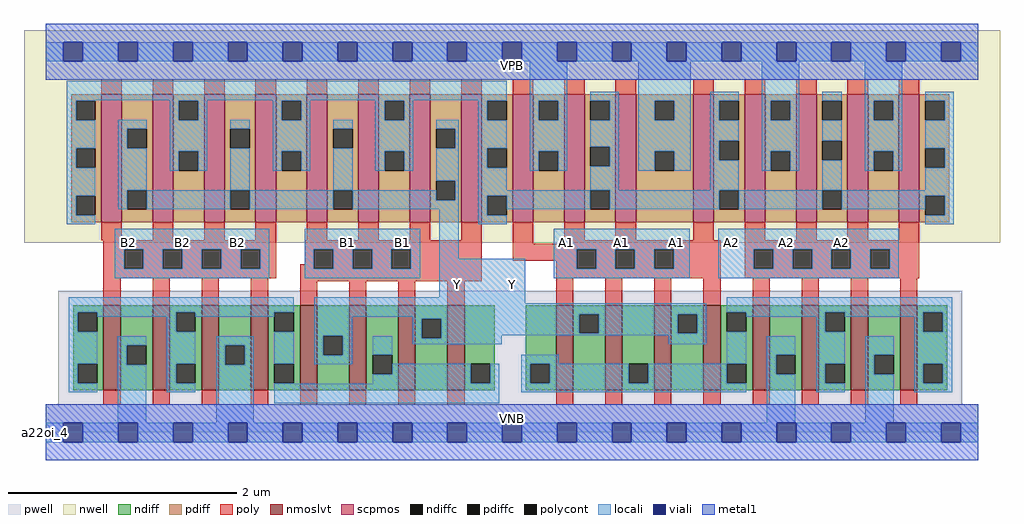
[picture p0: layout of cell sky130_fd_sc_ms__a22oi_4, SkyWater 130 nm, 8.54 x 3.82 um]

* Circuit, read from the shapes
.subckt sky130_fd_sc_ms__a22oi_4 A1 A2 B1 B2 VGND VNB VPB VPWR Y
XM1 VGND B2 n1 VNB sky130_fd_pr__nfet_01v8_lvt w=0.74 l=0.15 m=4
XM2 Y B1 n1 VNB sky130_fd_pr__nfet_01v8_lvt w=0.74 l=0.15 m=4
XM3 Y A1 n2 VNB sky130_fd_pr__nfet_01v8_lvt w=0.74 l=0.15 m=4
XM4 VGND A2 n2 VNB sky130_fd_pr__nfet_01v8_lvt w=0.74 l=0.15 m=4
XM5 Y B2 n3 VPB sky130_fd_pr__pfet_01v8 w=1.12 l=0.18 m=4
XM6 Y B1 n3 VPB sky130_fd_pr__pfet_01v8 w=1.12 l=0.18 m=4
XM7 VPWR A1 n3 VPB sky130_fd_pr__pfet_01v8 w=1.12 l=0.18 m=4
XM8 VPWR A2 n3 VPB sky130_fd_pr__pfet_01v8 w=1.12 l=0.18 m=4
.ends

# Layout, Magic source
magic
tech sky130A
magscale 1 2
<< nwell >>
rect -38 332 1670 704
<< pwell >>
rect 22 49 1604 248
rect 0 0 1632 49
<< scpmos >>
rect 97 368 133 592
rect 187 368 223 592
rect 277 368 313 592
rect 367 368 403 592
rect 457 368 493 592
rect 547 368 583 592
rect 637 368 673 592
rect 727 368 763 592
rect 817 368 853 592
rect 907 368 943 592
rect 997 368 1033 592
rect 1133 368 1169 592
rect 1223 368 1259 592
rect 1313 368 1349 592
rect 1403 368 1439 592
rect 1493 368 1529 592
<< nmoslvt >>
rect 101 74 131 222
rect 187 74 217 222
rect 273 74 303 222
rect 359 74 389 222
rect 445 74 475 222
rect 531 74 561 222
rect 617 74 647 222
rect 703 74 733 222
rect 893 74 923 222
rect 979 74 1009 222
rect 1065 74 1095 222
rect 1151 74 1181 222
rect 1237 74 1267 222
rect 1323 74 1353 222
rect 1409 74 1439 222
rect 1495 74 1525 222
<< ndiff >>
rect 48 210 101 222
rect 48 176 56 210
rect 90 176 101 210
rect 48 120 101 176
rect 48 86 56 120
rect 90 86 101 120
rect 48 74 101 86
rect 131 152 187 222
rect 131 118 142 152
rect 176 118 187 152
rect 131 74 187 118
rect 217 210 273 222
rect 217 176 228 210
rect 262 176 273 210
rect 217 120 273 176
rect 217 86 228 120
rect 262 86 273 120
rect 217 74 273 86
rect 303 152 359 222
rect 303 118 314 152
rect 348 118 359 152
rect 303 74 359 118
rect 389 210 445 222
rect 389 176 400 210
rect 434 176 445 210
rect 389 120 445 176
rect 389 86 400 120
rect 434 86 445 120
rect 389 74 445 86
rect 475 169 531 222
rect 475 135 486 169
rect 520 135 531 169
rect 475 74 531 135
rect 561 136 617 222
rect 561 102 572 136
rect 606 102 617 136
rect 561 74 617 102
rect 647 199 703 222
rect 647 165 658 199
rect 692 165 703 199
rect 647 74 703 165
rect 733 120 786 222
rect 733 86 744 120
rect 778 86 786 120
rect 733 74 786 86
rect 840 120 893 222
rect 840 86 848 120
rect 882 86 893 120
rect 840 74 893 86
rect 923 207 979 222
rect 923 173 934 207
rect 968 173 979 207
rect 923 74 979 173
rect 1009 120 1065 222
rect 1009 86 1020 120
rect 1054 86 1065 120
rect 1009 74 1065 86
rect 1095 207 1151 222
rect 1095 173 1106 207
rect 1140 173 1151 207
rect 1095 74 1151 173
rect 1181 210 1237 222
rect 1181 176 1192 210
rect 1226 176 1237 210
rect 1181 120 1237 176
rect 1181 86 1192 120
rect 1226 86 1237 120
rect 1181 74 1237 86
rect 1267 136 1323 222
rect 1267 102 1278 136
rect 1312 102 1323 136
rect 1267 74 1323 102
rect 1353 210 1409 222
rect 1353 176 1364 210
rect 1398 176 1409 210
rect 1353 120 1409 176
rect 1353 86 1364 120
rect 1398 86 1409 120
rect 1353 74 1409 86
rect 1439 136 1495 222
rect 1439 102 1450 136
rect 1484 102 1495 136
rect 1439 74 1495 102
rect 1525 210 1578 222
rect 1525 176 1536 210
rect 1570 176 1578 210
rect 1525 120 1578 176
rect 1525 86 1536 120
rect 1570 86 1578 120
rect 1525 74 1578 86
<< pdiff >>
rect 45 580 97 592
rect 45 546 53 580
rect 87 546 97 580
rect 45 497 97 546
rect 45 463 53 497
rect 87 463 97 497
rect 45 414 97 463
rect 45 380 53 414
rect 87 380 97 414
rect 45 368 97 380
rect 133 531 187 592
rect 133 497 143 531
rect 177 497 187 531
rect 133 424 187 497
rect 133 390 143 424
rect 177 390 187 424
rect 133 368 187 390
rect 223 580 277 592
rect 223 546 233 580
rect 267 546 277 580
rect 223 492 277 546
rect 223 458 233 492
rect 267 458 277 492
rect 223 368 277 458
rect 313 531 367 592
rect 313 497 323 531
rect 357 497 367 531
rect 313 424 367 497
rect 313 390 323 424
rect 357 390 367 424
rect 313 368 367 390
rect 403 580 457 592
rect 403 546 413 580
rect 447 546 457 580
rect 403 492 457 546
rect 403 458 413 492
rect 447 458 457 492
rect 403 368 457 458
rect 493 531 547 592
rect 493 497 503 531
rect 537 497 547 531
rect 493 424 547 497
rect 493 390 503 424
rect 537 390 547 424
rect 493 368 547 390
rect 583 580 637 592
rect 583 546 593 580
rect 627 546 637 580
rect 583 492 637 546
rect 583 458 593 492
rect 627 458 637 492
rect 583 368 637 458
rect 673 531 727 592
rect 673 497 683 531
rect 717 497 727 531
rect 673 440 727 497
rect 673 406 683 440
rect 717 406 727 440
rect 673 368 727 406
rect 763 580 817 592
rect 763 546 773 580
rect 807 546 817 580
rect 763 497 817 546
rect 763 463 773 497
rect 807 463 817 497
rect 763 414 817 463
rect 763 380 773 414
rect 807 380 817 414
rect 763 368 817 380
rect 853 580 907 592
rect 853 546 863 580
rect 897 546 907 580
rect 853 492 907 546
rect 853 458 863 492
rect 897 458 907 492
rect 853 368 907 458
rect 943 580 997 592
rect 943 546 953 580
rect 987 546 997 580
rect 943 500 997 546
rect 943 466 953 500
rect 987 466 997 500
rect 943 424 997 466
rect 943 390 953 424
rect 987 390 997 424
rect 943 368 997 390
rect 1033 580 1133 592
rect 1033 546 1066 580
rect 1100 546 1133 580
rect 1033 492 1133 546
rect 1033 458 1066 492
rect 1100 458 1133 492
rect 1033 368 1133 458
rect 1169 580 1223 592
rect 1169 546 1179 580
rect 1213 546 1223 580
rect 1169 510 1223 546
rect 1169 476 1179 510
rect 1213 476 1223 510
rect 1169 424 1223 476
rect 1169 390 1179 424
rect 1213 390 1223 424
rect 1169 368 1223 390
rect 1259 580 1313 592
rect 1259 546 1269 580
rect 1303 546 1313 580
rect 1259 492 1313 546
rect 1259 458 1269 492
rect 1303 458 1313 492
rect 1259 368 1313 458
rect 1349 580 1403 592
rect 1349 546 1359 580
rect 1393 546 1403 580
rect 1349 510 1403 546
rect 1349 476 1359 510
rect 1393 476 1403 510
rect 1349 424 1403 476
rect 1349 390 1359 424
rect 1393 390 1403 424
rect 1349 368 1403 390
rect 1439 580 1493 592
rect 1439 546 1449 580
rect 1483 546 1493 580
rect 1439 492 1493 546
rect 1439 458 1449 492
rect 1483 458 1493 492
rect 1439 368 1493 458
rect 1529 580 1581 592
rect 1529 546 1539 580
rect 1573 546 1581 580
rect 1529 497 1581 546
rect 1529 463 1539 497
rect 1573 463 1581 497
rect 1529 414 1581 463
rect 1529 380 1539 414
rect 1573 380 1581 414
rect 1529 368 1581 380
<< ndiffc >>
rect 56 176 90 210
rect 56 86 90 120
rect 142 118 176 152
rect 228 176 262 210
rect 228 86 262 120
rect 314 118 348 152
rect 400 176 434 210
rect 400 86 434 120
rect 486 135 520 169
rect 572 102 606 136
rect 658 165 692 199
rect 744 86 778 120
rect 848 86 882 120
rect 934 173 968 207
rect 1020 86 1054 120
rect 1106 173 1140 207
rect 1192 176 1226 210
rect 1192 86 1226 120
rect 1278 102 1312 136
rect 1364 176 1398 210
rect 1364 86 1398 120
rect 1450 102 1484 136
rect 1536 176 1570 210
rect 1536 86 1570 120
<< pdiffc >>
rect 53 546 87 580
rect 53 463 87 497
rect 53 380 87 414
rect 143 497 177 531
rect 143 390 177 424
rect 233 546 267 580
rect 233 458 267 492
rect 323 497 357 531
rect 323 390 357 424
rect 413 546 447 580
rect 413 458 447 492
rect 503 497 537 531
rect 503 390 537 424
rect 593 546 627 580
rect 593 458 627 492
rect 683 497 717 531
rect 683 406 717 440
rect 773 546 807 580
rect 773 463 807 497
rect 773 380 807 414
rect 863 546 897 580
rect 863 458 897 492
rect 953 546 987 580
rect 953 466 987 500
rect 953 390 987 424
rect 1066 546 1100 580
rect 1066 458 1100 492
rect 1179 546 1213 580
rect 1179 476 1213 510
rect 1179 390 1213 424
rect 1269 546 1303 580
rect 1269 458 1303 492
rect 1359 546 1393 580
rect 1359 476 1393 510
rect 1359 390 1393 424
rect 1449 546 1483 580
rect 1449 458 1483 492
rect 1539 546 1573 580
rect 1539 463 1573 497
rect 1539 380 1573 414
<< poly >>
rect 97 592 133 618
rect 187 592 223 618
rect 277 592 313 618
rect 367 592 403 618
rect 457 592 493 618
rect 547 592 583 618
rect 637 592 673 618
rect 727 592 763 618
rect 817 592 853 618
rect 907 592 943 618
rect 997 592 1033 618
rect 1133 592 1169 618
rect 1223 592 1259 618
rect 1313 592 1349 618
rect 1403 592 1439 618
rect 1493 592 1529 618
rect 97 336 133 368
rect 187 336 223 368
rect 277 336 313 368
rect 367 336 403 368
rect 457 336 493 368
rect 547 336 583 368
rect 637 336 673 368
rect 727 336 763 368
rect 101 320 403 336
rect 101 286 137 320
rect 171 286 205 320
rect 239 286 273 320
rect 307 286 341 320
rect 375 286 403 320
rect 453 320 763 336
rect 453 294 469 320
rect 101 270 403 286
rect 445 286 469 294
rect 503 286 537 320
rect 571 286 605 320
rect 639 286 763 320
rect 817 330 853 368
rect 907 336 943 368
rect 997 336 1033 368
rect 1133 336 1169 368
rect 1223 336 1259 368
rect 1313 336 1349 368
rect 1403 336 1439 368
rect 1493 336 1529 368
rect 907 330 1181 336
rect 817 320 1181 330
rect 817 300 929 320
rect 101 222 131 270
rect 187 222 217 270
rect 273 222 303 270
rect 359 222 389 270
rect 445 264 763 286
rect 893 286 929 300
rect 963 286 997 320
rect 1031 286 1065 320
rect 1099 286 1181 320
rect 893 270 1181 286
rect 1223 320 1529 336
rect 1223 286 1239 320
rect 1273 286 1307 320
rect 1341 286 1375 320
rect 1409 286 1443 320
rect 1477 286 1529 320
rect 1223 270 1529 286
rect 445 222 475 264
rect 531 222 561 264
rect 617 222 647 264
rect 703 222 733 264
rect 893 222 923 270
rect 979 222 1009 270
rect 1065 222 1095 270
rect 1151 222 1181 270
rect 1237 222 1267 270
rect 1323 222 1353 270
rect 1409 222 1439 270
rect 1495 222 1525 270
rect 101 48 131 74
rect 187 48 217 74
rect 273 48 303 74
rect 359 48 389 74
rect 445 48 475 74
rect 531 48 561 74
rect 617 48 647 74
rect 703 48 733 74
rect 893 48 923 74
rect 979 48 1009 74
rect 1065 48 1095 74
rect 1151 48 1181 74
rect 1237 48 1267 74
rect 1323 48 1353 74
rect 1409 48 1439 74
rect 1495 48 1525 74
<< polycont >>
rect 137 286 171 320
rect 205 286 239 320
rect 273 286 307 320
rect 341 286 375 320
rect 469 286 503 320
rect 537 286 571 320
rect 605 286 639 320
rect 929 286 963 320
rect 997 286 1031 320
rect 1065 286 1099 320
rect 1239 286 1273 320
rect 1307 286 1341 320
rect 1375 286 1409 320
rect 1443 286 1477 320
<< locali >>
rect 0 649 31 683
rect 65 649 127 683
rect 161 649 223 683
rect 257 649 319 683
rect 353 649 415 683
rect 449 649 511 683
rect 545 649 607 683
rect 641 649 703 683
rect 737 649 799 683
rect 833 649 895 683
rect 929 649 991 683
rect 1025 649 1087 683
rect 1121 649 1183 683
rect 1217 649 1279 683
rect 1313 649 1375 683
rect 1409 649 1471 683
rect 1505 649 1567 683
rect 1601 649 1632 683
rect 37 581 807 615
rect 37 580 87 581
rect 37 546 53 580
rect 217 580 283 581
rect 37 497 87 546
rect 37 463 53 497
rect 37 414 87 463
rect 37 380 53 414
rect 127 531 177 547
rect 127 497 143 531
rect 127 424 177 497
rect 217 546 233 580
rect 267 546 283 580
rect 397 580 463 581
rect 217 492 283 546
rect 217 458 233 492
rect 267 458 283 492
rect 323 531 357 547
rect 323 424 357 497
rect 397 546 413 580
rect 447 546 463 580
rect 577 580 643 581
rect 397 492 463 546
rect 397 458 413 492
rect 447 458 463 492
rect 503 531 537 547
rect 503 424 537 497
rect 577 546 593 580
rect 627 546 643 580
rect 757 580 807 581
rect 577 492 643 546
rect 577 458 593 492
rect 627 458 643 492
rect 683 531 723 547
rect 717 497 723 531
rect 683 440 723 497
rect 127 390 143 424
rect 177 390 323 424
rect 357 390 503 424
rect 537 406 683 424
rect 717 406 723 440
rect 537 390 723 406
rect 37 364 87 380
rect 121 320 391 356
rect 121 286 137 320
rect 171 286 205 320
rect 239 286 273 320
rect 307 286 341 320
rect 375 286 391 320
rect 121 270 391 286
rect 453 320 655 356
rect 453 286 469 320
rect 503 286 537 320
rect 571 286 605 320
rect 639 286 655 320
rect 453 270 655 286
rect 689 304 723 390
rect 757 546 773 580
rect 757 497 807 546
rect 757 463 773 497
rect 757 424 807 463
rect 847 580 913 649
rect 847 546 863 580
rect 897 546 913 580
rect 847 492 913 546
rect 847 458 863 492
rect 897 458 913 492
rect 953 580 1003 596
rect 987 546 1003 580
rect 953 500 1003 546
rect 987 466 1003 500
rect 953 424 1003 466
rect 1037 580 1129 649
rect 1037 546 1066 580
rect 1100 546 1129 580
rect 1037 492 1129 546
rect 1037 458 1066 492
rect 1100 458 1129 492
rect 1163 580 1213 596
rect 1163 546 1179 580
rect 1163 510 1213 546
rect 1163 476 1179 510
rect 1163 424 1213 476
rect 1253 580 1319 649
rect 1253 546 1269 580
rect 1303 546 1319 580
rect 1253 492 1319 546
rect 1253 458 1269 492
rect 1303 458 1319 492
rect 1359 580 1393 596
rect 1359 510 1393 546
rect 1359 424 1393 476
rect 1433 580 1499 649
rect 1433 546 1449 580
rect 1483 546 1499 580
rect 1433 492 1499 546
rect 1433 458 1449 492
rect 1483 458 1499 492
rect 1539 580 1589 596
rect 1573 546 1589 580
rect 1539 497 1589 546
rect 1573 463 1589 497
rect 1539 424 1589 463
rect 757 414 953 424
rect 757 380 773 414
rect 807 390 953 414
rect 987 390 1179 424
rect 1213 390 1359 424
rect 1393 414 1589 424
rect 1393 390 1539 414
rect 757 364 807 380
rect 1573 380 1589 414
rect 1539 364 1589 380
rect 889 320 1127 356
rect 689 236 839 304
rect 889 286 929 320
rect 963 286 997 320
rect 1031 286 1065 320
rect 1099 286 1127 320
rect 889 270 1127 286
rect 1177 320 1493 356
rect 1177 286 1239 320
rect 1273 286 1307 320
rect 1341 286 1375 320
rect 1409 286 1443 320
rect 1477 286 1493 320
rect 1177 270 1493 286
rect 40 210 434 236
rect 40 176 56 210
rect 90 202 228 210
rect 40 120 90 176
rect 212 176 228 202
rect 262 202 400 210
rect 40 86 56 120
rect 40 70 90 86
rect 126 152 176 168
rect 126 118 142 152
rect 126 17 176 118
rect 212 120 262 176
rect 212 86 228 120
rect 212 70 262 86
rect 298 152 364 168
rect 298 118 314 152
rect 348 118 364 152
rect 298 17 364 118
rect 400 120 434 176
rect 470 226 839 236
rect 470 207 1156 226
rect 470 202 934 207
rect 470 169 536 202
rect 470 135 486 169
rect 520 135 536 169
rect 642 199 934 202
rect 470 119 536 135
rect 572 136 606 168
rect 642 165 658 199
rect 692 173 934 199
rect 968 173 1106 207
rect 1140 173 1156 207
rect 692 170 1156 173
rect 692 165 798 170
rect 642 154 798 165
rect 1090 154 1156 170
rect 1192 210 1586 236
rect 1226 202 1364 210
rect 400 85 434 86
rect 832 120 898 136
rect 1192 120 1226 176
rect 1348 176 1364 202
rect 1398 202 1536 210
rect 606 102 744 120
rect 572 86 744 102
rect 778 86 794 120
rect 572 85 794 86
rect 400 51 794 85
rect 832 86 848 120
rect 882 86 1020 120
rect 1054 86 1192 120
rect 832 70 1226 86
rect 1262 136 1312 168
rect 1262 102 1278 136
rect 1262 17 1312 102
rect 1348 120 1398 176
rect 1520 176 1536 202
rect 1570 176 1586 210
rect 1348 86 1364 120
rect 1348 70 1398 86
rect 1434 136 1484 168
rect 1434 102 1450 136
rect 1434 17 1484 102
rect 1520 120 1586 176
rect 1520 86 1536 120
rect 1570 86 1586 120
rect 1520 70 1586 86
rect 0 -17 31 17
rect 65 -17 127 17
rect 161 -17 223 17
rect 257 -17 319 17
rect 353 -17 415 17
rect 449 -17 511 17
rect 545 -17 607 17
rect 641 -17 703 17
rect 737 -17 799 17
rect 833 -17 895 17
rect 929 -17 991 17
rect 1025 -17 1087 17
rect 1121 -17 1183 17
rect 1217 -17 1279 17
rect 1313 -17 1375 17
rect 1409 -17 1471 17
rect 1505 -17 1567 17
rect 1601 -17 1632 17
<< viali >>
rect 31 649 65 683
rect 127 649 161 683
rect 223 649 257 683
rect 319 649 353 683
rect 415 649 449 683
rect 511 649 545 683
rect 607 649 641 683
rect 703 649 737 683
rect 799 649 833 683
rect 895 649 929 683
rect 991 649 1025 683
rect 1087 649 1121 683
rect 1183 649 1217 683
rect 1279 649 1313 683
rect 1375 649 1409 683
rect 1471 649 1505 683
rect 1567 649 1601 683
rect 31 -17 65 17
rect 127 -17 161 17
rect 223 -17 257 17
rect 319 -17 353 17
rect 415 -17 449 17
rect 511 -17 545 17
rect 607 -17 641 17
rect 703 -17 737 17
rect 799 -17 833 17
rect 895 -17 929 17
rect 991 -17 1025 17
rect 1087 -17 1121 17
rect 1183 -17 1217 17
rect 1279 -17 1313 17
rect 1375 -17 1409 17
rect 1471 -17 1505 17
rect 1567 -17 1601 17
<< metal1 >>
rect 0 683 1632 715
rect 0 649 31 683
rect 65 649 127 683
rect 161 649 223 683
rect 257 649 319 683
rect 353 649 415 683
rect 449 649 511 683
rect 545 649 607 683
rect 641 649 703 683
rect 737 649 799 683
rect 833 649 895 683
rect 929 649 991 683
rect 1025 649 1087 683
rect 1121 649 1183 683
rect 1217 649 1279 683
rect 1313 649 1375 683
rect 1409 649 1471 683
rect 1505 649 1567 683
rect 1601 649 1632 683
rect 0 617 1632 649
rect 0 17 1632 49
rect 0 -17 31 17
rect 65 -17 127 17
rect 161 -17 223 17
rect 257 -17 319 17
rect 353 -17 415 17
rect 449 -17 511 17
rect 545 -17 607 17
rect 641 -17 703 17
rect 737 -17 799 17
rect 833 -17 895 17
rect 929 -17 991 17
rect 1025 -17 1087 17
rect 1121 -17 1183 17
rect 1217 -17 1279 17
rect 1313 -17 1375 17
rect 1409 -17 1471 17
rect 1505 -17 1567 17
rect 1601 -17 1632 17
rect 0 -49 1632 -17
<< labels >>
flabel pwell s 0 0 1632 49 0 FreeSans 200 0 0 0 VNB
port 6 nsew ground bidirectional
flabel nwell s 0 617 1632 666 0 FreeSans 200 0 0 0 VPB
port 7 nsew power bidirectional
rlabel comment s 0 0 0 0 4 a22oi_4
flabel metal1 s 0 617 1632 666 0 FreeSans 340 0 0 0 VPWR
port 8 nsew power bidirectional
flabel metal1 s 0 0 1632 49 0 FreeSans 340 0 0 0 VGND
port 5 nsew ground bidirectional
flabel locali s 703 242 737 276 0 FreeSans 340 0 0 0 Y
port 9 nsew signal output
flabel locali s 799 242 833 276 0 FreeSans 340 0 0 0 Y
port 9 nsew signal output
flabel locali s 127 316 161 350 0 FreeSans 340 0 0 0 B2
port 4 nsew signal input
flabel locali s 223 316 257 350 0 FreeSans 340 0 0 0 B2
port 4 nsew signal input
flabel locali s 319 316 353 350 0 FreeSans 340 0 0 0 B2
port 4 nsew signal input
flabel locali s 511 316 545 350 0 FreeSans 340 0 0 0 B1
port 3 nsew signal input
flabel locali s 607 316 641 350 0 FreeSans 340 0 0 0 B1
port 3 nsew signal input
flabel locali s 1183 316 1217 350 0 FreeSans 340 0 0 0 A2
port 2 nsew signal input
flabel locali s 1279 316 1313 350 0 FreeSans 340 0 0 0 A2
port 2 nsew signal input
flabel locali s 1375 316 1409 350 0 FreeSans 340 0 0 0 A2
port 2 nsew signal input
flabel locali s 895 316 929 350 0 FreeSans 340 0 0 0 A1
port 1 nsew signal input
flabel locali s 991 316 1025 350 0 FreeSans 340 0 0 0 A1
port 1 nsew signal input
flabel locali s 1087 316 1121 350 0 FreeSans 340 0 0 0 A1
port 1 nsew signal input
<< properties >>
string LEFsite unit
string LEFclass CORE
string FIXED_BBOX 0 0 1632 666
string GDS_FILE $PDKPATH/libs.ref/sky130_fd_sc_ms/gds/sky130_fd_sc_ms.gds
string LEFsymmetry X Y
string GDS_END 352106
string GDS_START 339062
<< end >>
